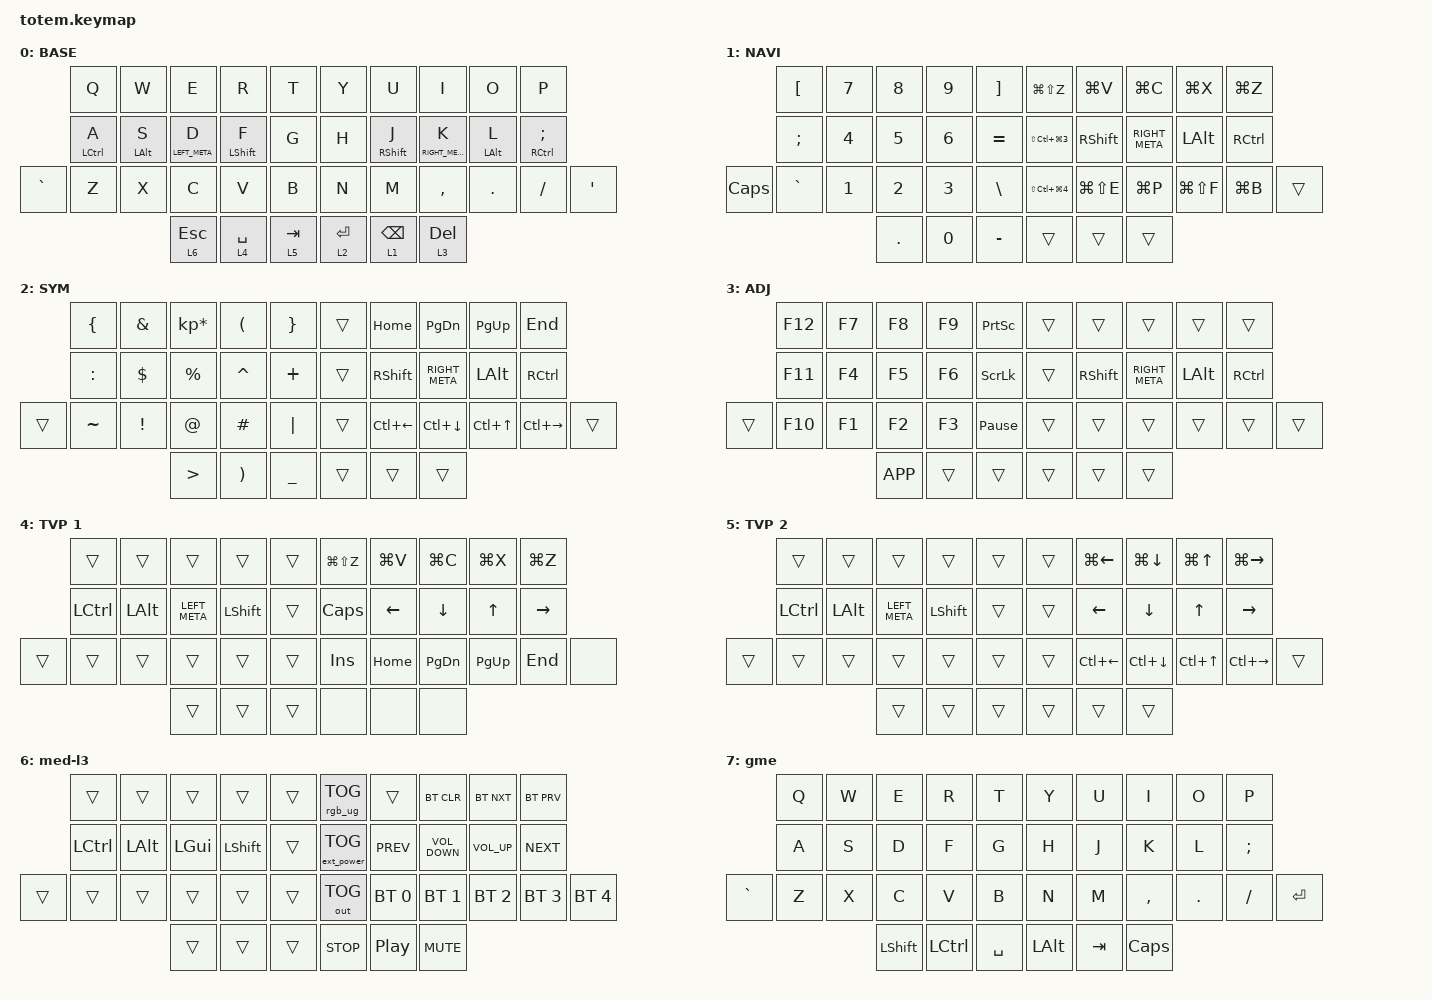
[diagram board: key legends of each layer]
//
//                                                        ▀▀▀▀▀     ▀▀▀▀▀          ▀▀█▀▀
//                                                        ▄▀▀▀▄  ▄  ▄▀▀▀▄  ▄  ▄▀▀▀▄  █  ▄▀▀▀▄
//                                                        █   █  █  █   █  █  █   █  █  █   █
//                                                         ▀▀▀   █   ▀▀▀   █   ▀▀▀   ▀   ▀▀▀
//                                                               █      ▄▄▄█▄▄▄    █   █  
//                                                               ▀      █  █  █     █▄█
//                                                             ▀▀▀▀▀    █  █  █      ▀
//                                                                      ▀  ▀  ▀
//
// ▄▄▄▄▄▄▄▄▄▄▄▄▄▄▄▄▄▄▄▄▄▄▄▄▄▄▄▄▄▄▄▄▄▄▄▄▄▄▄▄▄▄▄▄▄▄▄▄▄▄▄▄▄▄▄▄▄▄▄▄▄▄▄▄▄▄▄▄▄▄▄▄▄▄▄▄▄▄▄▄▄▄▄▄▄▄▄▄▄▄▄▄▄▄▄▄▄▄▄▄▄▄▄▄▄▄▄▄▄▄▄▄▄▄▄▄▄▄▄▄▄▄▄▄▄▄▄▄▄▄▄▄▄▄▄▄▄▄▄▄▄▄▄▄▄▄▄▄▄

#include <behaviors.dtsi>
#include <dt-bindings/zmk/bt.h>
#include <dt-bindings/zmk/ext_power.h>
#include <dt-bindings/zmk/keys.h>
#include <dt-bindings/zmk/outputs.h>
#include <dt-bindings/zmk/rgb.h>

#define BASE 0
#define NAV  1
#define SYM  2
#define ADJ  3
#define TVP1 4
#define TVP2 5

&mt {
    quick-tap-ms = <170>;
    global-quick-tap;
    flavor = "tap-preferred";
};

&lt { quick-tap-ms = <170>; };

/ {
    combos {
        compatible = "zmk,combos";

        bootl {
            bindings = <&bootloader>;
            key-positions = <0 20>;
        };

        bootr {
            bindings = <&bootloader>;
            key-positions = <31 9>;
        };

        gme_to {
            bindings = <&tog 7>;
            key-positions = <20 31>;
            layers = <0>;
        };

        gme_from {
            bindings = <&tog 0>;
            key-positions = <20 31>;
            layers = <7>;
        };
    };

    macros {
        gif: gif {
            label = "giphy";
            compatible = "zmk,behavior-macro";
            #binding-cells = <0>;
            bindings =
                <&macro_press>,
                <&kp LSHFT>,
                <&macro_tap>,
                <&kp N2>,
                <&macro_release>,
                <&kp LSHFT>,
                <&macro_tap>,
                <&kp G &kp I &kp F>;
        };
    };

    keymap {
        compatible = "zmk,keymap";

        // ▄▄▄▄▄▄▄▄▄▄▄▄▄▄▄▄▄▄▄▄▄▄▄▄▄▄▄▄▄▄▄▄▄▄▄▄▄▄▄▄▄▄▄▄▄▄▄▄▄▄▄▄▄▄▄▄▄▄▄▄▄▄▄▄▄▄▄▄▄▄▄▄▄▄▄▄▄▄▄▄▄▄▄▄▄▄▄▄▄▄▄▄▄▄▄▄▄▄▄▄▄▄▄▄▄▄▄▄▄▄▄▄▄▄▄▄▄▄▄▄▄▄▄▄▄▄▄▄▄▄▄▄▄▄▄▄▄▄▄▄▄▄▄▄▄▄▄▄▄

        base_layer {
            // ┏━━━━━━━━━━━━━━━━━━━━━━━━━━━━━━━━━━━━━━━┓

            label = "BASE";

            // ┗━━━━━━━━━━━━━━━━━━━━━━━━━━━━━━━━━━━━━━━┛
            //             ┏━━━━━━━━━━━┳━━━━━━━━━━━┳━━━━━━━━━━━┳━━━━━━━━━━━┳━━━━━━━━━━━┓   ┏━━━━━━━━━━━┳━━━━━━━━━━━┳━━━━━━━━━━━┳━━━━━━━━━━━┳━━━━━━━━━━━┓
            //             ┃     Q     ┃     W     ┃     F     ┃     P     ┃     G     ┃   ┃     J     ┃     L     ┃     U     ┃     Y     ┃     ;     ┃
            //             ┣━━━━━━━━━━━╋━━━━━━━━━━━╋━━━━━━━━━━━╋━━━━━━━━━━━╋━━━━━━━━━━━┫   ┣━━━━━━━━━━━╋━━━━━━━━━━━╋━━━━━━━━━━━╋━━━━━━━━━━━╋━━━━━━━━━━━┫
            //             ┃     A     ┃     R     ┃     S     ┃     T     ┃     D     ┃   ┃     H     ┃     N     ┃     E     ┃     I     ┃     O     ┃
            // ┏━━━━━━━━━━━╋━━━━━━━━━━━╋━━━━━━━━━━━╋━━━━━━━━━━━╋━━━━━━━━━━━╋━━━━━━━━━━━┫   ┣━━━━━━━━━━━╋━━━━━━━━━━━╋━━━━━━━━━━━╋━━━━━━━━━━━╋━━━━━━━━━━━╋━━━━━━━━━━━┓
            // ┃     Q     ┃     Z     ┃     X     ┃     C     ┃     V     ┃     B     ┃   ┃     K     ┃     M     ┃     ,     ┃     .     ┃     /     ┃     \     ┃
            // ┗━━━━━━━━━━━┻━━━━━━━━━━━┻━━━━━━━━━━━╋━━━━━━━━━━━╋━━━━━━━━━━━╋━━━━━━━━━━━┫   ┣━━━━━━━━━━━╋━━━━━━━━━━━╋━━━━━━━━━━━╋━━━━━━━━━━━┻━━━━━━━━━━━┻━━━━━━━━━━━┛
            //                                     ┃    DEL    ┃    TAB    ┃    SPC    ┃   ┃   ENTER   ┃           ┃   BSPC    ┃
            //                                     ┗━━━━━━━━━━━┻━━━━━━━━━━━┻━━━━━━━━━━━┛   ┗━━━━━━━━━━━┻━━━━━━━━━━━┻━━━━━━━━━━━┛

            bindings = <
           &kp Q        &kp W       &kp E            &kp R        &kp T        &kp Y        &kp U            &kp I             &kp O           &kp P
           &mt LCTRL A  &mt LALT S  &mt LEFT_META D  &mt LSHFT F  &kp G        &kp H        &mt RSHFT J      &mt RIGHT_META K  &mt LEFT_ALT L  &mt RCTRL SEMICOLON
&kp GRAVE  &kp Z        &kp X       &kp C            &kp V        &kp B        &kp N        &kp M            &kp COMMA         &kp DOT         &kp FSLH             &kp SINGLE_QUOTE
                                    &lt 6 ESC        &lt 4 SPACE  &lt 5 TAB    &lt 2 ENTER  &lt 1 BACKSPACE  &lt 3 DELETE
            >;
        };

        // ▄▄▄▄▄▄▄▄▄▄▄▄▄▄▄▄▄▄▄▄▄▄▄▄▄▄▄▄▄▄▄▄▄▄▄▄▄▄▄▄▄▄▄▄▄▄▄▄▄▄▄▄▄▄▄▄▄▄▄▄▄▄▄▄▄▄▄▄▄▄▄▄▄▄▄▄▄▄▄▄▄▄▄▄▄▄▄▄▄▄▄▄▄▄▄▄▄▄▄▄▄▄▄▄▄▄▄▄▄▄▄▄▄▄▄▄▄▄▄▄▄▄▄▄▄▄▄▄▄▄▄▄▄▄▄▄▄▄▄▄▄▄▄▄▄▄▄▄▄

        num-r1 {
            // ┏━━━━━━━━━━━━━━━━━━━━━━━━━━━━━━━━━━━━━━━┓

            label = "NAVI";

            // ┗━━━━━━━━━━━━━━━━━━━━━━━━━━━━━━━━━━━━━━━┛
            //             ┏━━━━━━━━━━━┳━━━━━━━━━━━┳━━━━━━━━━━━┳━━━━━━━━━━━┳━━━━━━━━━━━┓   ┏━━━━━━━━━━━┳━━━━━━━━━━━┳━━━━━━━━━━━┳━━━━━━━━━━━┳━━━━━━━━━━━┓
            //             ┃           ┃           ┃     UP    ┃           ┃     {     ┃   ┃     }     ┃     7     ┃     8     ┃     9     ┃     +     ┃
            //             ┣━━━━━━━━━━━╋━━━━━━━━━━━╋━━━━━━━━━━━╋━━━━━━━━━━━╋━━━━━━━━━━━┫   ┣━━━━━━━━━━━╋━━━━━━━━━━━╋━━━━━━━━━━━╋━━━━━━━━━━━╋━━━━━━━━━━━┫
            //             ┃   SHIFT   ┃   LEFT    ┃    DOWN   ┃   RIGHT   ┃     [     ┃   ┃     ]     ┃     4     ┃     5     ┃     6     ┃     -     ┃
            // ┏━━━━━━━━━━━╋━━━━━━━━━━━╋━━━━━━━━━━━╋━━━━━━━━━━━╋━━━━━━━━━━━╋━━━━━━━━━━━┫   ┣━━━━━━━━━━━╋━━━━━━━━━━━╋━━━━━━━━━━━╋━━━━━━━━━━━╋━━━━━━━━━━━╋━━━━━━━━━━━┓
            // ┃           ┃           ┃   P UP    ┃  C LOCK   ┃  P DOWN   ┃     (     ┃   ┃     )     ┃     1     ┃     2     ┃     3     ┃     *     ┃           ┃
            // ┗━━━━━━━━━━━┻━━━━━━━━━━━┻━━━━━━━━━━━╋━━━━━━━━━━━╋━━━━━━━━━━━╋━━━━━━━━━━━┫   ┣━━━━━━━━━━━╋━━━━━━━━━━━╋━━━━━━━━━━━╋━━━━━━━━━━━┻━━━━━━━━━━━┻━━━━━━━━━━━┛
            //                                     ┃           ┃    TAB    ┃    SPC    ┃   ┃    DEL    ┃     0     ┃           ┃
            //                                     ┗━━━━━━━━━━━┻━━━━━━━━━━━┻━━━━━━━━━━━┛   ┗━━━━━━━━━━━┻━━━━━━━━━━━┻━━━━━━━━━━━┛

            bindings = <
              &kp LEFT_BRACKET  &kp N7  &kp N8   &kp N9  &kp RIGHT_BRACKET    &kp LG(LS(Z))       &kp LG(V)        &kp LG(C)       &kp LG(X)      &kp LG(Z)
              &kp SEMI          &kp N4  &kp N5   &kp N6  &kp EQUAL            &kp LS(LC(LG(N3)))  &kp RIGHT_SHIFT  &kp RIGHT_META  &kp LEFT_ALT   &kp RIGHT_CONTROL
&kp CAPSLOCK  &kp GRAVE         &kp N1  &kp N2   &kp N3  &kp BACKSLASH        &kp LS(LC(LG(N4)))  &kp LG(LS(E))    &kp LG(P)       &kp LG(LS(F))  &kp LG(B)          &trans
                                        &kp DOT  &kp N0  &kp MINUS            &trans              &trans           &trans
            >;
        };

        // ▄▄▄▄▄▄▄▄▄▄▄▄▄▄▄▄▄▄▄▄▄▄▄▄▄▄▄▄▄▄▄▄▄▄▄▄▄▄▄▄▄▄▄▄▄▄▄▄▄▄▄▄▄▄▄▄▄▄▄▄▄▄▄▄▄▄▄▄▄▄▄▄▄▄▄▄▄▄▄▄▄▄▄▄▄▄▄▄▄▄▄▄▄▄▄▄▄▄▄▄▄▄▄▄▄▄▄▄▄▄▄▄▄▄▄▄▄▄▄▄▄▄▄▄▄▄▄▄▄▄▄▄▄▄▄▄▄▄▄▄▄▄▄▄▄▄▄▄▄

        sym-r2 {
            // ┏━━━━━━━━━━━━━━━━━━━━━━━━━━━━━━━━━━━━━━━┓

            label = "SYM";

            // ┗━━━━━━━━━━━━━━━━━━━━━━━━━━━━━━━━━━━━━━━┛
            //             ┏━━━━━━━━━━━┳━━━━━━━━━━━┳━━━━━━━━━━━┳━━━━━━━━━━━┳━━━━━━━━━━━┓   ┏━━━━━━━━━━━┳━━━━━━━━━━━┳━━━━━━━━━━━┳━━━━━━━━━━━┳━━━━━━━━━━━┓
            //             ┃     !     ┃     @     ┃     #     ┃     $     ┃     %     ┃   ┃     ˆ     ┃     &     ┃     Ü     ┃     '     ┃     "     ┃
            //             ┣━━━━━━━━━━━╋━━━━━━━━━━━╋━━━━━━━━━━━╋━━━━━━━━━━━╋━━━━━━━━━━━┫   ┣━━━━━━━━━━━╋━━━━━━━━━━━╋━━━━━━━━━━━╋━━━━━━━━━━━╋━━━━━━━━━━━┫
            //             ┃     Ä     ┃           ┃    SZ     ┃           ┃           ┃   ┃   MUTE    ┃   YEN     ┃   EURO    ┃  POUND    ┃     Ö     ┃
            // ┏━━━━━━━━━━━╋━━━━━━━━━━━╋━━━━━━━━━━━╋━━━━━━━━━━━╋━━━━━━━━━━━╋━━━━━━━━━━━┫   ┣━━━━━━━━━━━╋━━━━━━━━━━━╋━━━━━━━━━━━╋━━━━━━━━━━━╋━━━━━━━━━━━╋━━━━━━━━━━━┓
            // ┃           ┃  EMAIL1   ┃  EMAIL2   ┃           ┃           ┃           ┃   ┃   VOL-    ┃   VOL+    ┃   LAST    ┃   NEXT    ┃     \     ┃           ┃
            // ┗━━━━━━━━━━━┻━━━━━━━━━━━┻━━━━━━━━━━━╋━━━━━━━━━━━╋━━━━━━━━━━━╋━━━━━━━━━━━┫   ┣━━━━━━━━━━━╋━━━━━━━━━━━╋━━━━━━━━━━━╋━━━━━━━━━━━┻━━━━━━━━━━━┻━━━━━━━━━━━┛
            //                                     ┃           ┃    GIF    ┃    ADJ    ┃   ┃           ┃           ┃           ┃
            //                                     ┗━━━━━━━━━━━┻━━━━━━━━━━━┻━━━━━━━━━━━┛   ┗━━━━━━━━━━━┻━━━━━━━━━━━┻━━━━━━━━━━━┛

            bindings = <
        &kp LEFT_BRACE  &kp AMPERSAND  &kp KP_MULTIPLY   &kp LEFT_PARENTHESIS   &kp RIGHT_BRACE    &trans  &kp HOME            &kp PAGE_DOWN       &kp PG_UP         &kp END
        &kp COLON       &kp DOLLAR     &kp PERCENT       &kp CARET              &kp PLUS           &trans  &kp RIGHT_SHIFT     &kp RIGHT_META      &kp LEFT_ALT      &kp RIGHT_CONTROL
&trans  &kp TILDE       &kp EXCL       &kp AT            &kp POUND              &kp PIPE           &trans  &kp LC(LEFT_ARROW)  &kp LC(DOWN_ARROW)  &kp LC(UP_ARROW)  &kp LC(RIGHT)      &trans
                                       &kp GREATER_THAN  &kp RIGHT_PARENTHESIS  &kp UNDER          &trans  &trans              &trans
            >;
        };

        // ▄▄▄▄▄▄▄▄▄▄▄▄▄▄▄▄▄▄▄▄▄▄▄▄▄▄▄▄▄▄▄▄▄▄▄▄▄▄▄▄▄▄▄▄▄▄▄▄▄▄▄▄▄▄▄▄▄▄▄▄▄▄▄▄▄▄▄▄▄▄▄▄▄▄▄▄▄▄▄▄▄▄▄▄▄▄▄▄▄▄▄▄▄▄▄▄▄▄▄▄▄▄▄▄▄▄▄▄▄▄▄▄▄▄▄▄▄▄▄▄▄▄▄▄▄▄▄▄▄▄▄▄▄▄▄▄▄▄▄▄▄▄▄▄▄▄▄▄▄

        fun-r3 {
            // ┏━━━━━━━━━━━━━━━━━━━━━━━━━━━━━━━━━━━━━━━┓

            label = "ADJ";

            // ┗━━━━━━━━━━━━━━━━━━━━━━━━━━━━━━━━━━━━━━━┛
            //             ┏━━━━━━━━━━━┳━━━━━━━━━━━┳━━━━━━━━━━━┳━━━━━━━━━━━┳━━━━━━━━━━━┓   ┏━━━━━━━━━━━┳━━━━━━━━━━━┳━━━━━━━━━━━┳━━━━━━━━━━━┳━━━━━━━━━━━┓
            //             ┃   RESET   ┃ BT CLEAR  ┃  OUT TOG  ┃           ┃           ┃   ┃           ┃    F7     ┃    F8     ┃    F9     ┃    F12    ┃
            //             ┣━━━━━━━━━━━╋━━━━━━━━━━━╋━━━━━━━━━━━╋━━━━━━━━━━━╋━━━━━━━━━━━┫   ┣━━━━━━━━━━━╋━━━━━━━━━━━╋━━━━━━━━━━━╋━━━━━━━━━━━╋━━━━━━━━━━━┫
            //             ┃ BOOTLOAD  ┃ BT NEXT   ┃           ┃           ┃           ┃   ┃           ┃    F4     ┃    F5     ┃    F6     ┃    F11    ┃
            // ┏━━━━━━━━━━━╋━━━━━━━━━━━╋━━━━━━━━━━━╋━━━━━━━━━━━╋━━━━━━━━━━━╋━━━━━━━━━━━┫   ┣━━━━━━━━━━━╋━━━━━━━━━━━╋━━━━━━━━━━━╋━━━━━━━━━━━╋━━━━━━━━━━━╋━━━━━━━━━━━┓
            // ┃           ┃           ┃ BT PREV   ┃           ┃           ┃           ┃   ┃           ┃    F1     ┃    F2     ┃    F3     ┃    F10    ┃           ┃
            // ┗━━━━━━━━━━━┻━━━━━━━━━━━┻━━━━━━━━━━━╋━━━━━━━━━━━╋━━━━━━━━━━━╋━━━━━━━━━━━┫   ┣━━━━━━━━━━━╋━━━━━━━━━━━╋━━━━━━━━━━━╋━━━━━━━━━━━┻━━━━━━━━━━━┻━━━━━━━━━━━┛
            //                                     ┃           ┃           ┃           ┃   ┃           ┃           ┃           ┃
            //                                     ┗━━━━━━━━━━━┻━━━━━━━━━━━┻━━━━━━━━━━━┛   ┗━━━━━━━━━━━┻━━━━━━━━━━━┻━━━━━━━━━━━┛

            bindings = <
        &kp F12  &kp F7  &kp F8     &kp F9  &kp PRINTSCREEN    &trans  &trans           &trans          &trans        &trans
        &kp F11  &kp F4  &kp F5     &kp F6  &kp SCROLLLOCK     &trans  &kp RIGHT_SHIFT  &kp RIGHT_META  &kp LEFT_ALT  &kp RIGHT_CONTROL
&trans  &kp F10  &kp F1  &kp F2     &kp F3  &kp PAUSE_BREAK    &trans  &trans           &trans          &trans        &trans             &trans
                         &kp K_APP  &trans  &trans             &trans  &trans           &trans
            >;
        };

        // ▄▄▄▄▄▄▄▄▄▄▄▄▄▄▄▄▄▄▄▄▄▄▄▄▄▄▄▄▄▄▄▄▄▄▄▄▄▄▄▄▄▄▄▄▄▄▄▄▄▄▄▄▄▄▄▄▄▄▄▄▄▄▄▄▄▄▄▄▄▄▄▄▄▄▄▄▄▄▄▄▄▄▄▄▄▄▄▄▄▄▄▄▄▄▄▄▄▄▄▄▄▄▄▄▄▄▄▄▄▄▄▄▄▄▄▄▄▄▄▄▄▄▄▄▄▄▄▄▄▄▄▄▄▄▄▄▄▄▄▄▄▄▄▄▄▄▄▄▄

        nav-l1 {
            // ┏━━━━━━━━━━━━━━━━━━━━━━━━━━━━━━━━━━━━━━━┓

            label = "TVP 1";

            // ┗━━━━━━━━━━━━━━━━━━━━━━━━━━━━━━━━━━━━━━━┛
            //             ┏━━━━━━━━━━━┳━━━━━━━━━━━┳━━━━━━━━━━━┳━━━━━━━━━━━┳━━━━━━━━━━━┓   ┏━━━━━━━━━━━┳━━━━━━━━━━━┳━━━━━━━━━━━┳━━━━━━━━━━━┳━━━━━━━━━━━┓
            //             ┃ NEXT FILE ┃ MARK IN   ┃ ROTATE    ┃ MARK OUT  ┃ SHOW SNAP ┃   ┃           ┃           ┃           ┃           ┃           ┃
            //             ┣━━━━━━━━━━━╋━━━━━━━━━━━╋━━━━━━━━━━━╋━━━━━━━━━━━╋━━━━━━━━━━━┫   ┣━━━━━━━━━━━╋━━━━━━━━━━━╋━━━━━━━━━━━╋━━━━━━━━━━━╋━━━━━━━━━━━┫
            //             ┃ TVP II    ┃ LEFT      ┃ PAN       ┃ RIGHT     ┃ PLAY/FLIP ┃   ┃           ┃           ┃           ┃           ┃           ┃
            // ┏━━━━━━━━━━━╋━━━━━━━━━━━╋━━━━━━━━━━━╋━━━━━━━━━━━╋━━━━━━━━━━━╋━━━━━━━━━━━┫   ┣━━━━━━━━━━━╋━━━━━━━━━━━╋━━━━━━━━━━━╋━━━━━━━━━━━╋━━━━━━━━━━━╋━━━━━━━━━━━┓
            // ┃ FULLSCR   ┃ SHIFT     ┃ COPY      ┃ DELETE    ┃ PASTE     ┃ IMG MARK  ┃   ┃           ┃           ┃           ┃           ┃           ┃           ┃
            // ┗━━━━━━━━━━━┻━━━━━━━━━━━┻━━━━━━━━━━━╋━━━━━━━━━━━╋━━━━━━━━━━━╋━━━━━━━━━━━┫   ┣━━━━━━━━━━━╋━━━━━━━━━━━╋━━━━━━━━━━━╋━━━━━━━━━━━┻━━━━━━━━━━━┻━━━━━━━━━━━┛
            //                                     ┃           ┃ UNDO/SAVE ┃  SEL/MOV  ┃   ┃           ┃           ┃           ┃
            //                                     ┗━━━━━━━━━━━┻━━━━━━━━━━━┻━━━━━━━━━━━┛   ┗━━━━━━━━━━━┻━━━━━━━━━━━┻━━━━━━━━━━━┛

            bindings = <
        &trans            &trans        &trans         &trans          &trans    &kp LG(LS(Z))  &kp LG(V)       &kp LG(C)      &kp LG(X)     &kp LG(Z)
        &kp LEFT_CONTROL  &kp LEFT_ALT  &kp LEFT_META  &kp LEFT_SHIFT  &trans    &kp CAPS       &kp LEFT_ARROW  &kp DOWN       &kp UP_ARROW  &kp RIGHT
&trans  &trans            &trans        &trans         &trans          &trans    &kp INS        &kp HOME        &kp PAGE_DOWN  &kp PG_UP     &kp END    &none
                                        &trans         &trans          &trans    &none          &none           &none
            >;
        };

        // ▄▄▄▄▄▄▄▄▄▄▄▄▄▄▄▄▄▄▄▄▄▄▄▄▄▄▄▄▄▄▄▄▄▄▄▄▄▄▄▄▄▄▄▄▄▄▄▄▄▄▄▄▄▄▄▄▄▄▄▄▄▄▄▄▄▄▄▄▄▄▄▄▄▄▄▄▄▄▄▄▄▄▄▄▄▄▄▄▄▄▄▄▄▄▄▄▄▄▄▄▄▄▄▄▄▄▄▄▄▄▄▄▄▄▄▄▄▄▄▄▄▄▄▄▄▄▄▄▄▄▄▄▄▄▄▄▄▄▄▄▄▄▄▄▄▄▄▄▄

        mse-l2 {
            // ┏━━━━━━━━━━━━━━━━━━━━━━━━━━━━━━━━━━━━━━━┓

            label = "TVP 2";

            // ┗━━━━━━━━━━━━━━━━━━━━━━━━━━━━━━━━━━━━━━━┛
            //             ┏━━━━━━━━━━━┳━━━━━━━━━━━┳━━━━━━━━━━━┳━━━━━━━━━━━┳━━━━━━━━━━━┓   ┏━━━━━━━━━━━┳━━━━━━━━━━━┳━━━━━━━━━━━┳━━━━━━━━━━━┳━━━━━━━━━━━┓
            //             ┃ SOLO      ┃ TOGGLE IN ┃ RESET ROT ┃ TOGGLE OUT┃ TAKE SNAP ┃   ┃           ┃           ┃           ┃           ┃           ┃
            //             ┣━━━━━━━━━━━╋━━━━━━━━━━━╋━━━━━━━━━━━╋━━━━━━━━━━━╋━━━━━━━━━━━┫   ┣━━━━━━━━━━━╋━━━━━━━━━━━╋━━━━━━━━━━━╋━━━━━━━━━━━╋━━━━━━━━━━━┫
            //             ┃ ---       ┃ LAST KEY  ┃ NEW KEY   ┃ NEXT KEY  ┃ ENTER     ┃   ┃           ┃           ┃           ┃           ┃           ┃
            // ┏━━━━━━━━━━━╋━━━━━━━━━━━╋━━━━━━━━━━━╋━━━━━━━━━━━╋━━━━━━━━━━━╋━━━━━━━━━━━┫   ┣━━━━━━━━━━━╋━━━━━━━━━━━╋━━━━━━━━━━━╋━━━━━━━━━━━╋━━━━━━━━━━━╋━━━━━━━━━━━┓
            // ┃           ┃ FULLSCR   ┃ CPY2BRUSH ┃ DEL HEAD  ┃ PSTinPLACE┃ BOOK MARK ┃   ┃           ┃           ┃           ┃           ┃           ┃           ┃
            // ┗━━━━━━━━━━━┻━━━━━━━━━━━┻━━━━━━━━━━━╋━━━━━━━━━━━╋━━━━━━━━━━━╋━━━━━━━━━━━┫   ┣━━━━━━━━━━━╋━━━━━━━━━━━╋━━━━━━━━━━━╋━━━━━━━━━━━┻━━━━━━━━━━━┻━━━━━━━━━━━┛
            //                                     ┃           ┃ REDO/SAV1 ┃TRANS/WARP ┃   ┃           ┃           ┃           ┃
            //                                     ┗━━━━━━━━━━━┻━━━━━━━━━━━┻━━━━━━━━━━━┛   ┗━━━━━━━━━━━┻━━━━━━━━━━━┻━━━━━━━━━━━┛

            bindings = <
        &trans            &trans        &trans         &trans          &trans    &trans  &kp LG(LEFT_ARROW)  &kp LG(DOWN_ARROW)  &kp LG(UP_ARROW)  &kp LG(RIGHT)
        &kp LEFT_CONTROL  &kp LEFT_ALT  &kp LEFT_META  &kp LEFT_SHIFT  &trans    &trans  &kp LEFT            &kp DOWN_ARROW      &kp UP_ARROW      &kp RIGHT
&trans  &trans            &trans        &trans         &trans          &trans    &trans  &kp LC(LEFT)        &kp LC(DOWN)        &kp LC(UP_ARROW)  &kp LC(RIGHT)  &trans
                                        &trans         &trans          &trans    &trans  &trans              &trans
            >;
        };

        med-l3 {
            bindings = <
        &trans     &trans    &trans    &trans     &trans    &rgb_ug RGB_TOG    &trans        &bt BT_CLR         &bt BT_NXT       &bt BT_PRV
        &kp LCTRL  &kp LALT  &kp LGUI  &kp LSHFT  &trans    &ext_power EP_TOG  &kp C_PREV    &kp C_VOLUME_DOWN  &kp C_VOLUME_UP  &kp C_NEXT
&trans  &trans     &trans    &trans    &trans     &trans    &out OUT_TOG       &bt BT_SEL 0  &bt BT_SEL 1       &bt BT_SEL 2     &bt BT_SEL 3  &bt BT_SEL 4
                             &trans    &trans     &trans    &kp C_STOP         &kp C_PP      &kp K_MUTE
            >;
        };

        gme {
            label = "gme";
            bindings = <
           &kp Q  &kp W  &kp E      &kp R      &kp T        &kp Y     &kp U    &kp I         &kp O    &kp P
           &kp A  &kp S  &kp D      &kp F      &kp G        &kp H     &kp J    &kp K         &kp L    &kp SEMI
&kp GRAVE  &kp Z  &kp X  &kp C      &kp V      &kp B        &kp N     &kp M    &kp COMMA     &kp DOT  &kp FSLH  &kp ENTER
                         &kp LSHFT  &kp LCTRL  &kp SPACE    &kp LALT  &kp TAB  &kp CAPSLOCK
            >;
        };
    };
};
